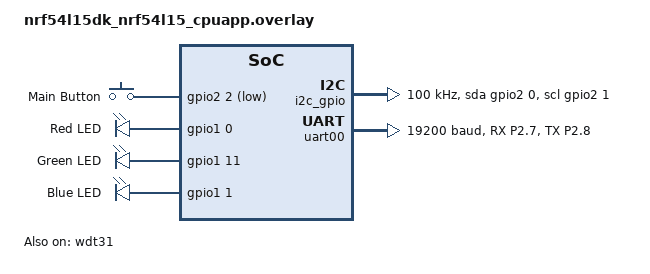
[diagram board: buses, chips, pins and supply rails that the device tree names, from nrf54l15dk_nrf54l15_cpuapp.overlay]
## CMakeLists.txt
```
cmake_minimum_required(VERSION 3.20.0)

find_package(Zephyr REQUIRED HINTS $ENV{ZEPHYR_BASE})

project(knx_actuator)

set(CMAKE_EXPORT_COMPILE_COMMANDS ON)

# =============================================================================
# KNX Stack Configuration
# =============================================================================
target_compile_definitions(app PRIVATE
    MASK_VERSION=0x07B0
    USE_TP
    USE_KNX_UART_API
    USE_KNX_MEMORY_API
    NCN5120
    KNX_NO_PRINT
    USE_DATASECURE
    KNX_NO_AUTOMATIC_GLOBAL_INSTANCE
    KNX_FLASH_SIZE=1024
)

# =============================================================================
# Include Directories
# =============================================================================
zephyr_include_directories(${CMAKE_CURRENT_SOURCE_DIR}/include)
target_include_directories(app PRIVATE 
    ${CMAKE_CURRENT_SOURCE_DIR}/knx_stack/src
    ${CMAKE_CURRENT_SOURCE_DIR}/src/knx
)

# =============================================================================
# Source Files
# =============================================================================
target_sources(app PRIVATE 
    src/main.c
    src/network/normal_provision.c
    src/network/fast_provision.c
    src/network/default_network.c
    src/network/network.c
    src/network/mesh_node.c
    src/network/vendor_model.c
    src/mid/watchdog_process.c
    src/mid/led.c
    src/mid/button.c
    src/mid/relay.c
    src/mid/fifo.c
    src/mid/execution_scene.c
    src/mid/scene.c
    src/mid/led_ev.c
    src/mid/fact.c
    src/mid/key_report.c
    src/mid/sw_binding.c
    src/mid/net_message.c
    src/mid/pre_update.c
    src/mid/timestamp.c
    src/app/app.c
    src/driver/at24c02.c
    src/app/curtain.c

    # KNX Adapter
    src/knx/knx_adapter.cpp
    src/knx/knx_app_layer.cpp
    src/knx/knx_provision.c

    # KNX Stack - Platform & Facade
    knx_stack/src/nordic_platform.cpp
    knx_stack/src/knx_facade.cpp
)

# Global KNX Core sources
file(GLOB KNX_CORE_SOURCES 
    "knx_stack/src/knx/*.cpp"
    "knx_stack/src/knx/*.c"
)
target_sources(app PRIVATE ${KNX_CORE_SOURCES})
```

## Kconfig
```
source "Kconfig.zephyr"

config KNX_CURTAIN
	bool "Enable Provisioner mode on demo"
	default false

config WATCHDOG_PROCESS_TIMEOUT_MS
	int "Watchdog timeout value [ms]"
	default 12000
	range 1000 120000
	help
	  Timeout của watchdog timer. Sau thời gian này thiết bị sẽ tự động reset.
	  
	  Phân tích các tác vụ dài nhất:
	  - Factory reset: ~4 giây (3s delay + 1.2s processing)
	  - Fast provisioning: 30-60 giây (có timeout riêng 60s)
	  - Mesh operations: thường < 10 giây
	  - Flash operations: < 5 giây
	  
	  Timeout 12 giây:
	  - Phát hiện treo nhanh (12 giây)
	  - Feed interval: 4 giây (timeout/3) - số nguyên, đảm bảo feed kịp thời
	  - Margin: 8 giây - rất an toàn, chịu được delay lớn trong work queue
	  - Đủ cho hầu hết tác vụ ngắn và trung bình
	  
	  Lưu ý: Với timeout 12 giây, các tác vụ dài (>12s) có thể bị reset.
	  Fast provisioning có timeout riêng 60s và có thể retry nếu bị reset.
	  
	  Range hỗ trợ bởi Nordic: 1 ms - 130,023,423 ms (~36 giờ)
	  Giá trị mặc định: 12000 ms (12 giây)
```

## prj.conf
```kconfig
# Bluetooth Mesh Relay Node Configuration
# Nordic SDK 3.0.1
# Optimized for Relay + Friend Node in Bluetooth Mesh network
###############################################################################

# =============================================================================
# 0. TF-M CONFIGURATION
# =============================================================================
# Disable TF-M logging để không dùng UART30 (tránh conflict với UART00)
# Khi disable logging, TF-M sẽ không claim UART30 và GPIO pins
CONFIG_TFM_LOG_LEVEL_SILENCE=y

# Disable secure pins cho GPIO0.0-0.1 để UART00 có thể dùng được
# Mặc định TF-M claim GPIO0.0-0.1 làm secure (0x00000003)
# Set về 0x00000000 để cho phép non-secure access
CONFIG_NRF_GPIO0_PIN_MASK_SECURE=0x00000000


#DEBUG CONFIG
CONFIG_DEBUG_COREDUMP=y
CONFIG_DEBUG_COREDUMP_BACKEND_LOGGING=y


# =============================================================================
# 1. SYSTEM & HARDWARE CONFIGURATION
# =============================================================================
# Basic system configuration: stack size, storage, hardware info
# Increase stack size for relay node handling many messages simultaneously

CONFIG_MAIN_STACK_SIZE=5120
CONFIG_SYSTEM_WORKQUEUE_STACK_SIZE=5120

# Storage & Settings
CONFIG_FLASH=y
CONFIG_FLASH_MAP=y
CONFIG_NVS=y
CONFIG_SETTINGS=y
CONFIG_NVS_LOOKUP_CACHE=y
CONFIG_SETTINGS_NVS_NAME_CACHE=y
CONFIG_PM_PARTITION_SIZE_SETTINGS_STORAGE=0x8000

# Clock Configuration (Internal RC - frees P0.00/P0.01 for relay4 GPIO)
CONFIG_CLOCK_CONTROL=y
CONFIG_CLOCK_CONTROL_NRF=y
CONFIG_SOC_ENABLE_LFXO=n
CONFIG_CLOCK_CONTROL_NRF_K32SRC_RC=y
CONFIG_CLOCK_CONTROL_NRF_K32SRC_RC_CALIBRATION=y

# TF-M Secure UART30 Configuration
# This tells TF-M to use UART30 during secure boot on P0.00/P0.01,
# which grants Non-Secure access to those pins so the relay driver
# can reconfigure them as GPIO after boot.
CONFIG_TFM_SECURE_UART30=y
CONFIG_TFM_SECURE_UART_SHARE_INSTANCE=y

# Hardware & Libraries
CONFIG_HWINFO=y
CONFIG_DK_LIBRARY=y
CONFIG_GPIO=y
CONFIG_GPIO_NRFX=y
# I2C for AT24C02 EEPROM (software bit-bang on P2.0/P2.1)
CONFIG_I2C=y
CONFIG_I2C_GPIO=y

# Tắt driver flash ngoài (board có chip flash MX25R64 nhưng project không dùng)
CONFIG_SPI_NOR=n

# Button Configuration
# Number of buttons defined in include/button.h via MAX_BUTTON_COUNT macro
# Default: 4 buttons
# To change, modify MAX_BUTTON_COUNT in include/button.h

# Reboot functionality (for factory reset)
CONFIG_REBOOT=y

# Watchdog configuration - Protects system from hanging
# IMPORTANT: CONFIG_WATCHDOG must be enabled before CONFIG_WDT_NRFX
CONFIG_WATCHDOG=y
CONFIG_WDT_NRFX=y
CONFIG_WDT_DISABLE_AT_BOOT=n

# Cryptography & Random Generator
CONFIG_ENTROPY_GENERATOR=y
CONFIG_TEST_RANDOM_GENERATOR=y

CONFIG_SERIAL=y
CONFIG_UART_INTERRUPT_DRIVEN=y
CONFIG_UART_CONSOLE=y
CONFIG_UART_NRFX=y
CONFIG_UART_USE_RUNTIME_CONFIGURE=y
CONFIG_USE_SEGGER_RTT=n

# Ring Buffer for Serial Layer
# Ring Buffer for Serial Layer
CONFIG_RING_BUFFER=y

# Enable SPI for spi22
# Enabling SPI for WS2812
CONFIG_LED_STRIP=n
CONFIG_WS2812_STRIP_GPIO=n
# Enable SPI/I2S for WS2812
CONFIG_SPI=n
CONFIG_SPI_NRFX=n
CONFIG_I2S=n
CONFIG_WS2812_STRIP_SPI=n
CONFIG_WS2812_STRIP_I2S=n



# =============================================================================
# 2. BLUETOOTH CORE CONFIGURATION
# =============================================================================
# Cấu hình Bluetooth Low Energy cơ bản

CONFIG_BT=y
CONFIG_BT_PERIPHERAL=y
CONFIG_BT_OBSERVER=y
CONFIG_BT_BROADCASTER=y
# Tăng L2CAP buffers cho GATT Proxy (nếu sử dụng)
CONFIG_BT_L2CAP_TX_BUF_COUNT=16


# =============================================================================
# 3. BLUETOOTH CONTROLLER FEATURES (DISABLED FOR OPTIMIZATION)
# =============================================================================
# Tắt các tính năng không cần thiết để tối ưu performance và tiết kiệm năng lượng

CONFIG_BT_CTLR_LE_ENC=n
CONFIG_BT_CTLR_LE_PING=n
CONFIG_BT_DATA_LEN_UPDATE=n
CONFIG_BT_PHY_UPDATE=n
CONFIG_BT_CTLR_MIN_USED_CHAN=n
CONFIG_BT_CTLR_PRIVACY=n
CONFIG_BT_CTLR_CHAN_SEL_2=n


# =============================================================================
# 4. BLUETOOTH MESH CORE
# =============================================================================
# Enable Bluetooth Mesh stack

CONFIG_BT_MESH=y


# =============================================================================
# 5. RELAY & FRIEND NODE FEATURES
# =============================================================================
# Relay Node: Forward messages giữa các nodes trong mesh network
# Friend Node: Hỗ trợ Low Power Nodes (LPN) bằng cách lưu trữ messages

# Relay Feature - Quan trọng cho relay node
# Tăng buffer count để xử lý nhiều messages đồng thời
# Tăng retransmit count để đảm bảo độ tin cậy cao hơn
CONFIG_BT_MESH_RELAY=y
CONFIG_BT_MESH_NETWORK_TRANSMIT_COUNT=5
CONFIG_BT_MESH_NETWORK_TRANSMIT_INTERVAL=30
CONFIG_BT_MESH_RELAY_RETRANSMIT_COUNT=2
CONFIG_BT_MESH_RELAY_RETRANSMIT_INTERVAL=30

# Friend Feature - Hỗ trợ Low Power Nodes
# Friend node lưu trữ messages cho LPN và gửi khi LPN wake up
# Tăng queue size để hỗ trợ nhiều LPN đồng thời
CONFIG_BT_MESH_FRIEND=y
CONFIG_BT_MESH_FRIEND_LPN_COUNT=5
CONFIG_BT_MESH_FRIEND_QUEUE_SIZE=16
CONFIG_BT_MESH_FRIEND_RECV_WIN=49

# 1. Extended Advertising (bắt buộc cho Friend ADV riêng)
CONFIG_BT_EXT_ADV=y
CONFIG_BT_EXT_ADV_MAX_ADV_SET=6

# 2. Mesh Extended Advertising mode
CONFIG_BT_MESH_ADV_EXT=y

# 3. Friend ADV Optimization (randomness=0, send immediately)
CONFIG_BT_MESH_ADV_EXT_FRIEND_SEPARATE=y

# High priority for Mesh ADV thread to reduce jitter (0 = Highest Cooperative Prio)
CONFIG_BT_MESH_ADV_PRIO=0

# Low Power Node - Disable (đây là relay node, luôn hoạt động)
CONFIG_BT_MESH_LOW_POWER=n


# =============================================================================
# 6. NETWORK CONFIGURATION & TOPOLOGY
# =============================================================================
# Cấu hình network: số lượng subnet, app key, groups, labels
# Network transmit/receive: số lần retry và interval

# Network Capacity
CONFIG_BT_MESH_SUBNET_COUNT=2
CONFIG_BT_MESH_APP_KEY_COUNT=2
CONFIG_BT_MESH_MODEL_GROUP_COUNT=8
CONFIG_BT_MESH_LABEL_COUNT=2

# Model Key Slots - Tăng để bind với nhiều AppKeys
# Fast Provision model cần bind với cả default network (0x0001) và main network (0x0000)
CONFIG_BT_MESH_MODEL_KEY_COUNT=2

# Default TTL (Time To Live) - Số hop tối đa message có thể đi qua
CONFIG_BT_MESH_DEFAULT_TTL=6

# =============================================================================
# 7. MESSAGE BUFFER & PERFORMANCE CONFIGURATION
# =============================================================================
# Tối ưu buffer sizes để relay node có thể xử lý nhiều messages đồng thời

# Advertisement Buffers - Tăng để giảm message loss
# Relay node cần nhiều buffers hơn để xử lý traffic cao
CONFIG_BT_MESH_ADV_BUF_COUNT=32
# FIX: Tăng relay buffer count riêng cho relay messages
CONFIG_BT_MESH_RELAY_BUF_COUNT=32
# FIX: Tăng segment max để xử lý large messages
CONFIG_BT_MESH_TX_SEG_MAX=8
CONFIG_BT_MESH_RX_SEG_MAX=8
# FIX: Tăng từ 2 lên 4 để nhận nhiều segmented messages đồng thời
CONFIG_BT_MESH_RX_SEG_MSG_COUNT=4

# Loopback Buffers - Cho internal message routing
# Tăng cho relay node xử lý nhiều messages nội bộ
CONFIG_BT_MESH_LOOPBACK_BUFS=24


# No random response msg
CONFIG_BT_MESH_ACCESS_DELAYABLE_MSG=y

# =============================================================================
# 8. SECURITY & BEACON CONFIGURATION
# =============================================================================
# Secure Network Beacon: quảng bá thông tin security cho các nodes

CONFIG_BT_MESH_BEACON_ENABLED=y


# =============================================================================
# 9. PROVISIONING CONFIGURATION
# =============================================================================
# Cấu hình provisioning: cách thiết bị được thêm vào mesh network

CONFIG_BT_MESH_PROVISIONEE=y
CONFIG_BT_MESH_DK_PROV=y
CONFIG_BT_MESH_DK_PROV_OOB_BUTTON=n

# Provisioning Bearer: chỉ dùng PB-ADV (Advertising)
CONFIG_BT_MESH_PB_ADV=y
CONFIG_BT_MESH_PB_GATT=y


# =============================================================================
# 10. GATT PROXY CONFIGURATION
# =============================================================================
# GATT Proxy: cho phép thiết bị BLE kết nối vào mesh network qua GATT

CONFIG_BT_MESH_GATT_PROXY=y


# =============================================================================
# 11. APPLICATION MODELS
# =============================================================================
# Bluetooth Mesh models used in the application

# Foundation Models (bắt buộc)
CONFIG_BT_MESH_CFG_CLI=y

# Health Model
CONFIG_BT_MESH_HEALTH_CLI=y

# Generic OnOff manual implementation is used, keeping standard server config 
# for opcodes/structs but using custom handlers in mesh_node.c
CONFIG_BT_MESH_ONOFF_SRV=y
CONFIG_BT_MESH_ONOFF_CLI=y

# Scene Model
CONFIG_BT_MESH_SCENE_SRV=y
CONFIG_BT_MESH_SCENES_MAX=16

# Generic Default Transition Time Server (Required for Scene Model)
CONFIG_BT_MESH_DTT_SRV=y

# Sensor Model - DISABLED
# CONFIG_BT_MESH_SENSOR_SRV=y


# =============================================================================
# 12. STORAGE & SETTINGS CONFIGURATION
# =============================================================================
# Configuration to save mesh state to flash to persist after reset

CONFIG_BT_SETTINGS=y
# RPL (Replay Protection List) Store Timeout
# Set to -1 to DISABLE automatic storage to Flash (RAM only)
CONFIG_BT_MESH_RPL_STORE_TIMEOUT=-1

# =============================================================================
# 13. LOGGING CONFIGURATION
# =============================================================================
# Log level: INF for production (reduce log to increase performance)
# Can change to DBG for debugging when needed


#=============================================================================
#Tắt log
#=============================================================================
# CONFIG_LOG=y
# CONFIG_LOG_BUFFER_SIZE=4096
# CONFIG_LOG_MODE_DEFERRED=y
# CONFIG_LOG_PROCESS_THREAD_STACK_SIZE=4096
# CONFIG_BT_LOG_LEVEL_INF=y
# CONFIG_BT_MESH_LOG_LEVEL_INF=y
# CONFIG_BT_MESH_PROV_LOG_LEVEL_INF=y
# CONFIG_BT_MESH_MODEL_LOG_LEVEL_INF=y
# CONFIG_BT_MESH_NET_LOG_LEVEL_INF=y
# CONFIG_BT_MESH_ACCESS_LOG_LEVEL_INF=y=
#=============================================================================



# =============================================================================
# 14. DEBUG & DEVELOPMENT TOOLS (OPTIONAL)
# =============================================================================
# Uncomment các dòng dưới để enable debug tools khi cần

# CONFIG_BT_MESH_PROVISIONEE_LOG_LEVEL_DBG=y
# CONFIG_BT_GATT_LOG_LEVEL_DBG=y
# CONFIG_BT_MESH_PROXY_LOG_LEVEL_DBG=y
# CONFIG_STACK_CANARIES=y
CONFIG_ASSERT=y
# CONFIG_THREAD_ANALYZER=y
# CONFIG_THREAD_ANALYZER_USE_PRINTK=y
# CONFIG_THREAD_ANALYZER_AUTO=y
# CONFIG_LOG_PROCESS_THREAD_STACK_SIZE=4096


# =============================================================================
# 15. DEBUG FEATURES
# =============================================================================
# Only enable in development, disable in production for optimal performance

CONFIG_BT_MESH_DEBUG_USE_ID_ADDR=y
CONFIG_BT_MESH_ACCESS_LAYER_MSG=y
CONFIG_BT_MESH_ACCESS_DELAYABLE_MSG=y

# =============================================================================
# 17. RELAY NODE OPTIMIZATION
# =============================================================================
# Special optimizations for relay node
# Message cache và network segmentation đã được cấu hình ở trên


# =============================================================================
# 16. HARDWARE TX POWER CONFIGURATION
# =============================================================================
# TX Power: 8dBm to increase coverage for relay node
# Can be adjusted based on range and energy consumption requirements

CONFIG_BT_CTLR_TX_PWR_PLUS_8=y

CONFIG_BT_CTLR_TX_PWR_DYNAMIC_CONTROL=y  # Uncomment để điều khiển dynamic



# Replay Protection List Size - Increase for 512 nodes
CONFIG_BT_MESH_CRPL=512

# Message Cache Size - Increase duplicate buffer (Default 10/32)
CONFIG_BT_MESH_MSG_CACHE_SIZE=64

# Zbus for inter-module communication (KNX Adapter <-> App)
CONFIG_ZBUS=y

# =============================================================================
# 18. C++ SUPPORT (Required for KNX Stack)
# =============================================================================
# KNX stack uses C++ with new/delete operators - must enable C++ in Zephyr
CONFIG_CPP=y
CONFIG_STD_CPP17=y
CONFIG_GLIBCXX_LIBCPP=y
CONFIG_HEAP_MEM_POOL_SIZE=8192
```

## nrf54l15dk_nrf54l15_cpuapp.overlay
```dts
    #include <zephyr/dt-bindings/input/input-event-codes.h>

&uart00 {
    status = "okay";
    current-speed = <19200>;
    parity = "even";
    pinctrl-0 = <&uart00_default_custom>;
    pinctrl-1 = <&uart00_sleep_custom>;
    pinctrl-names = "default", "sleep";
};

&lfxo {
    status = "disabled";
};

&uart30 {
    status = "disabled";
};

&wdt31 {
    status = "okay";
};

&pinctrl {
    uart00_default_custom: uart00_default_custom {
        group1 {
            psels = <NRF_PSEL(UART_RX, 2, 7)>;
            bias-pull-up;
            nordic,drive-mode = <NRF_DRIVE_H0H1>;
        };
        group2 {
            psels = <NRF_PSEL(UART_TX, 2, 8)>;
            nordic,invert;
            bias-pull-up;
            nordic,drive-mode = <NRF_DRIVE_H0S1>;
        };
    };

    uart00_sleep_custom: uart00_sleep_custom {
        group1 {
            psels = <NRF_PSEL(UART_RX, 2, 7)>, <NRF_PSEL(UART_TX, 2, 8)>;
            low-power-enable;
        };
    };

};

/* Disable standard buttons and LEDs to avoid conflicts */
/delete-node/ &button0;
/delete-node/ &button2;
/delete-node/ &button3;
/delete-node/ &led0;
/delete-node/ &led1;
/delete-node/ &led2;
/delete-node/ &led3;


/ {
    /* Main Button */
    buttons {
        compatible = "gpio-keys";
        main_button: button_1 {
            gpios = <&gpio2 2 (GPIO_ACTIVE_LOW | GPIO_PULL_UP)>; /* P1.13 */
            label = "Main Button";
            zephyr,code = <INPUT_KEY_0>;
        };
    };

    /* RGB LEDs */
    leds {
        compatible = "gpio-leds";
        led_red: led_red {
            gpios = <&gpio1 0 0>; /* P0.02 */
            label = "Red LED";
        };
        led_green: led_green {
            gpios = <&gpio1 11 0>; /* P0.03 */
            label = "Green LED";
        };
        led_blue: led_blue {
            gpios = <&gpio1 1 0>; /* P0.04 */
            label = "Blue LED";
        };
    };

    /* 4 Latching Relays */
    relays {
        compatible = "custom,latching-relays";
        relay_0: relay_0 {
            on-gpios = <&gpio2 3 GPIO_ACTIVE_HIGH>;   /* P2.03 */
            off-gpios = <&gpio2 4 GPIO_ACTIVE_HIGH>;  /* P2.04 */
        };
        relay_1: relay_1 {
            on-gpios = <&gpio2 5 GPIO_ACTIVE_HIGH>;   /* P2.05 */
            off-gpios = <&gpio2 6 GPIO_ACTIVE_HIGH>;  /* P2.06 */
        };
        relay_2: relay_2 {
            on-gpios = <&gpio2 9 GPIO_ACTIVE_HIGH>;   /* P2.09 */
            off-gpios = <&gpio2 10 GPIO_ACTIVE_HIGH>; /* P2.10 */
        };
        relay_3: relay_3 {
            on-gpios = <&gpio0 0 GPIO_ACTIVE_HIGH>;   /* P0.00 */
            off-gpios = <&gpio0 1 GPIO_ACTIVE_HIGH>;  /* P0.01 */
        };
    };

    /* Software I2C (bit-bang) on P2.0/P2.1 for AT24C02 EEPROM */
    i2c_gpio: i2c_gpio {
        compatible = "gpio-i2c";
        sda-gpios = <&gpio2 0 (GPIO_OPEN_DRAIN | GPIO_PULL_UP)>;
        scl-gpios = <&gpio2 1 (GPIO_OPEN_DRAIN | GPIO_PULL_UP)>;
        clock-frequency = <I2C_BITRATE_STANDARD>;
        #address-cells = <1>;
        #size-cells = <0>;
        status = "okay";
    };

    aliases {
        sw0 = &main_button;
        sw1 = &main_button;
        sw2 = &main_button;
        sw3 = &main_button;
        led0 = &led_red;
        led1 = &led_green;
        led2 = &led_blue;
        led3 = &led_red;
        relay0 = &relay_0;
        relay1 = &relay_1;
        relay2 = &relay_2;
        relay3 = &relay_3;
        watchdog0 = &wdt31;
    };
};

/* UART20 - Keep for console but ensure it doesn't conflict */
&uart20_default {
    group1 {
        psels = <NRF_PSEL(UART_TX, 1, 4)>; /* Keep standard TX on P1.04 */
    };
    group2 {
        psels = <NRF_PSEL(UART_RX, 1, 3)>, <NRF_PSEL(UART_CTS, 1, 7)>;
    };
};
/delete-node/ &{/pin-controller/spi00_default/group1/};

&cpuapp_rram {
    partitions {
        compatible = "fixed-partitions";
        #address-cells = <1>;
        #size-cells = <1>;

        knx_provision: partition@154000 {
            label = "knx_provision";
            reg = <0x154000 0x1000>;
        };
    };
};

&spi00 {
    status = "disabled";
};
/delete-node/ &{/pin-controller/spi00_sleep/group1/};
    
```

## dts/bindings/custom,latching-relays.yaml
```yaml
description: Container for latching relay channels

compatible: "custom,latching-relays"

child-binding:
  description: A single latching relay channel with ON and OFF GPIO pins

  properties:
    on-gpios:
      type: phandle-array
      required: true
      description: GPIO pin for turning the relay ON

    off-gpios:
      type: phandle-array
      required: true
      description: GPIO pin for turning the relay OFF
```

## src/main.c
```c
/**
 * @file main.c
 * @brief Bluetooth Mesh Relay Node - Main Application Entry Point
 *
 * @details
 * Main application file for Bluetooth Mesh Relay Node. Responsibilities:
 * - Hardware initialization (LEDs, buttons)
 * - Bluetooth and Mesh stack initialization
 * - Button event handling
 * - LED state management and attention blink
 *
 * Key features:
 * - Relay messages between nodes in mesh network
 * - Generic OnOff Server/Client models for LED control
 * - Fast Provision support (Quick Provision)
 * - Health model for fault reporting via attention LED
 *
 * @note
 * - Mesh logic (models, handlers) is in mesh_message_handler.c
 * - Network info (keys, addresses) is in network.c
 * - Fast Provision logic is in fast_provision.c
 */
/* ============================================================================
 * INCLUDES
 * ============================================================================
 */

/* Zephyr RTOS headers */
#include <zephyr/drivers/hwinfo.h>
#include <zephyr/kernel.h>
#include <zephyr/logging/log.h>
#include <zephyr/settings/settings.h>
#include <zephyr/sys/reboot.h>

/* Bluetooth Mesh headers */
#include <bluetooth/mesh/models.h>
#include <zephyr/bluetooth/bluetooth.h>
#include <zephyr/bluetooth/mesh.h>

/* Nordic DK headers */
#include <dk_buttons_and_leds.h>

/* Project headers */
#include "../include/app.h"
#include "../include/app_device.h"
#include "../include/button.h"
#include "../include/curtain.h"
#include "../include/default_network.h"
#include "../include/execution_scene.h"
#include "../include/fact.h"
#include "../include/fast_provision.h"
#include "../include/knx_adapter.h"
#include "../include/led.h"
#include "../include/led_ev.h"
#include "../include/mesh_node.h"
#include "../include/net_message.h"
#include "../include/normal_provision.h"
#include "../include/pre_update.h"
#include "../include/relay.h"
#include "../include/sw_binding.h"
#include "../include/watchdog_process.h"

LOG_MODULE_REGISTER(lumi_debug_main_c, CONFIG_LOG_DEFAULT_LEVEL);

/* ============================================================================
 * GLOBAL VARIABLES
 * ============================================================================
 */

/**
 * @brief Flag to enable/disable attention blink
 *
 * @details
 * - true: Enable attention blink
 * - false: Disable attention blink
 *
 * Set by Health model callbacks in mesh_message_handler.c
 */
bool attention;

/**
 * @brief Current LED state
 *
 * @details
 * - true: LED ON
 * - false: LED OFF
 *
 * Synchronized with LED hardware and OnOff model state
 */
bool is_led_on;

#if EN_DEBUG_NETWORK_INFO
static struct k_work_delayable main_periodic_work;
#endif

/* Global MAC Address Table (ref in fact.c) */
uint8_t tbl_mac[6] = {0};

/* ============================================================================
 * STATIC FUNCTIONS
 * ============================================================================
 */

/**
 * @brief Log TX Power configuration
 *
 * @details
 * Print TX power configured in prj.conf
 */
static void log_tx_power(void) {
#if defined(CONFIG_BT_CTLR_TX_PWR_PLUS_8)
  LOG_INF("TX Power: +8 dBm");
#elif defined(CONFIG_BT_CTLR_TX_PWR_PLUS_7)
  LOG_INF("TX Power: +7 dBm");
#elif defined(CONFIG_BT_CTLR_TX_PWR_PLUS_6)
  LOG_INF("TX Power: +6 dBm");
#elif defined(CONFIG_BT_CTLR_TX_PWR_PLUS_5)
  LOG_INF("TX Power: +5 dBm");
#elif defined(CONFIG_BT_CTLR_TX_PWR_PLUS_4)
  LOG_INF("TX Power: +4 dBm");
#elif defined(CONFIG_BT_CTLR_TX_PWR_PLUS_3)
  LOG_INF("TX Power: +3 dBm");
#elif defined(CONFIG_BT_CTLR_TX_PWR_PLUS_2)
  LOG_INF("TX Power: +2 dBm");
#elif defined(CONFIG_BT_CTLR_TX_PWR_PLUS_1)
  LOG_INF("TX Power: +1 dBm");
#elif defined(CONFIG_BT_CTLR_TX_PWR_0)
  LOG_INF("TX Power: 0 dBm");
#elif defined(CONFIG_BT_CTLR_TX_PWR_MINUS_4)
  LOG_INF("TX Power: -4 dBm");
#elif defined(CONFIG_BT_CTLR_TX_PWR_MINUS_8)
  LOG_INF("TX Power: -8 dBm");
#elif defined(CONFIG_BT_CTLR_TX_PWR_MINUS_12)
  LOG_INF("TX Power: -12 dBm");
#elif defined(CONFIG_BT_CTLR_TX_PWR_MINUS_16)
  LOG_INF("TX Power: -16 dBm");
#elif defined(CONFIG_BT_CTLR_TX_PWR_MINUS_20)
  LOG_INF("TX Power: -20 dBm");
#elif defined(CONFIG_BT_CTLR_TX_PWR_MINUS_40)
  LOG_INF("TX Power: -40 dBm");
#else
  LOG_INF("TX Power: Default (not specified)");
#endif
}

/* ============================================================================
 * INITIALIZATION FUNCTIONS
 * ============================================================================
 */

/**
 * @brief Initialize hardware (LEDs and buttons)
 *
 * @return 0 on success, error code on failure
 *
 * @details
 * Initialize necessary hardware:
 * - LEDs: For status indication and attention blink
 * - Buttons: To receive user input
 *
 * @note
 * If initialization fails, the function will log error and return error code.
 * Application will continue running but some features might not work.
 */
static int initialize_hardware(void) {
  /* Initialize MAC Address from Hardware Info */
  hwinfo_get_device_id(tbl_mac, sizeof(tbl_mac));
  LOG_HEXDUMP_INF(tbl_mac, sizeof(tbl_mac), "Device MAC Address:");

  LOG_INF("Hardware initialized successfully");
  return 0;
}

/**
 * @brief Initialize Mesh stack
 *
 * @return 0 on success, error code on failure
 *
 * @details
 * Initialize entire Mesh stack including:
 * - Mesh models (OnOff, Health, Config, Fast Provision)
 * - Mesh composition
 * - Message handlers
 * - Config Client and Fast Provision context
 *
 * @note
 * All mesh initialization logic is handled in mesh_message_handler.c.
 * This function is just a wrapper to call mesh_initialize().
 */
static int initialize_mesh_stack(void) { return mesh_initialize(); }

/**
 * @brief Callback when Bluetooth stack is ready
 *
 * @param err Error code (0 = success)
 *
 * @details
 * This function is called by Bluetooth stack when initialization is complete.
 * Initialization order:
 * 1. Hardware (LEDs, buttons)
 * 2. Mesh stack (models, composition, handlers)
 * 3. Load settings and restore AppKey binding (if any)
 * 4. Initialize Fast Provision
 *
 * @note Side effects:
 * - Initialize hardware (LEDs, buttons)
 * - Initialize Mesh stack
 * - Load persistent settings from flash
 * - Initialize Fast Provision state machine
 *
 * @note
 * If error occurs at any step, function will log error and return.
 * Application will continue running but some features might not work.
 */
static void bt_ready(int err) {
  if (err) {
    LOG_ERR("Bluetooth init failed (err %d)", err);
    return;
  }

  LOG_INF("Bluetooth initialized");

  /* Log TX Power configuration */
  log_tx_power();

  err = initialize_mesh_stack();
  if (err) {
    LOG_ERR("Mesh stack initialization failed");
    return;
  }

  /* Step 3: Restore AppKey binding from settings */
  if (IS_ENABLED(CONFIG_SETTINGS)) {
    restore_appkey_binding_after_settings_load();
    /* Wait a bit to ensure settings have been processed by mesh stack */
    /* (restore_appkey_binding_after_settings_load() already has 1000ms delay
     * inside) */
    k_sleep(K_MSEC(500));

    /* Save MAC to settings after settings are ready */
    fast_provision_save_mac_after_settings_ready();
  }
  fast_provision_init();
  normal_provision_init();
  default_network_monitor_init();

  err = initialize_hardware();
  if (err) {
    LOG_ERR("Hardware initialization failed");
    return;
  }

  /* Init curtain */
  curtain_init();

  /* Initialize KNX adapter */
  knx_adapter_init();

  /* Initialize relay module */
  err = relay_init();
  if (err) {
    LOG_ERR("Relay initialization failed (err %d)", err);
  }

  /* Init button */
  button_init(button_handle_btn_event);

  /* Initialize LED library */
  err = led_init();
  led_refresh_callback_init(app_handle_refresh_led);
  if (err) {
    LOG_ERR("Initializing LED library failed (err %d)", err);
    return;
  }
  led_ev_handle(LED_POWER_ON, CONFIG_LED_MASK_BLUETOOTH | CONFIG_LED_MASK_KNX);
  led_refresh(0xFFFF);

  /* Init ecxecution scene */
  execution_scene_init();

  /* Init net message */
  net_msg_init();

  /* Pre-Update */
  pre_update_init();

  /* Binding */
  binding_init();

  /* App initial */
  app_init();

  // Delay power on
  k_sleep(K_MSEC(500));

#if EN_DEBUG_NETWORK_INFO
  /* Start periodic tasks */
  k_work_reschedule(&main_periodic_work, K_MSEC(1000));
#endif
}

#if EN_DEBUG_NETWORK_INFO
/*
 * @brief Main periodic handler
 */
static void main_periodic_handler(struct k_work *work) {
  k_work_reschedule(&main_periodic_work, K_MSEC(1000)); // 1s interval
  default_network_print_info();                         // Optional
}
#endif

/* ============================================================================
 * MAIN FUNCTION
 * ============================================================================
 */

/**
 * @brief Main entry point
 *
 * @return 0 on success
 *
 * @details
 * Application entry point:
 * 1. Initialize Watchdog
 * 2. Initialize NVS early
 * 3. Enable Bluetooth stack (triggers bt_ready callback)
 * 4. Init attention blink work
 * 5. Init main periodic work
 *
 * @note
 * Non-blocking. After return, runs in Zephyr main thread/idle loop.
 */

/**
 * @brief Log reset/reboot reason at startup
 */
static void log_reset_reason(void) {
  uint32_t cause = 0;
  int rc = hwinfo_get_reset_cause(&cause);
  if (rc != 0) {
    LOG_WRN("Could not read reset cause (err %d)", rc);
    return;
  }

  LOG_INF("========================================");
  LOG_INF("  RESET CAUSE: 0x%08X", cause);

  if (cause == 0) {
    LOG_INF("  -> Power-On Reset (cold boot)");
  } else {
    if (cause & RESET_PIN)
      LOG_INF("  -> RESET PIN");
    if (cause & RESET_SOFTWARE)
      LOG_INF("  -> SOFTWARE RESET (sys_reboot)");
    if (cause & RESET_BROWNOUT)
      LOG_INF("  -> BROWNOUT (low voltage)");
    if (cause & RESET_POR)
      LOG_INF("  -> POWER-ON RESET");
    if (cause & RESET_WATCHDOG)
      LOG_INF("  -> WATCHDOG TIMEOUT !!!");
    if (cause & RESET_DEBUG)
      LOG_INF("  -> DEBUG (debugger reset)");
    if (cause & RESET_SECURITY)
      LOG_INF("  -> SECURITY VIOLATION");
    if (cause & RESET_LOW_POWER_WAKE)
      LOG_INF("  -> LOW POWER WAKE");
    if (cause & RESET_CPU_LOCKUP)
      LOG_INF("  -> CPU LOCKUP (HardFault) !!!");
    if (cause & RESET_PARITY)
      LOG_INF("  -> PARITY ERROR");
    if (cause & RESET_HARDWARE)
      LOG_INF("  -> HARDWARE");
    if (cause & RESET_USER)
      LOG_INF("  -> USER RESET");
    if (cause & RESET_TEMPERATURE)
      LOG_INF("  -> TEMPERATURE");
  }

  LOG_INF("========================================");

  /* Clear the cause so next boot shows fresh info */
  hwinfo_clear_reset_cause();
}

int main(void) {
  int err;

  LOG_INF("=== Bluetooth Mesh Relay Node Starting ===");

  /* Log reset reason FIRST */
  // log_reset_reason();

  /* Initialize watchdog early to protect system */
  err = watchdog_process_init();
  if (err) {
    LOG_ERR("Watchdog init failed (err %d)", err);
    /* Continue even if watchdog init fails */
  }

  /* Initialize NVS early to ensure MAC address storage availability */
  fast_provision_nvs_init_early();

  /* Enable Bluetooth stack - bt_ready callback will be called when ready */
  err = bt_enable(bt_ready);
  if (err) {
    LOG_ERR("Bluetooth init failed (err %d)", err);
    return err;
  }

  LOG_INF("Main initialization complete, waiting for Bluetooth ready...");

#if EN_DEBUG_NETWORK_INFO
  /* Initialize main periodic work */
  k_work_init_delayable(&main_periodic_work, main_periodic_handler);
#endif

  return 0;
}
```

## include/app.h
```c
#ifndef APP_H
#define APP_H

#include <stddef.h>
#include <stdint.h>

void app_serial_dispatch(uint8_t *data, size_t data_len);

/**
 * @brief Button event handler - called by button_proc() when GPIO button event
 * occurs
 * @param button_id Button index (0 = option button, 1..N = touch buttons)
 * @param evt Button event type (START_PRESS, HOLD_500MS, PRESS_ONE_TIME, etc.)
 */
void button_handle_btn_event(uint8_t button_id, uint8_t evt);
void app_handle_refresh_led(uint16_t mask);
void app_init(void);

#endif /* APP_H */
```

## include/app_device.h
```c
#ifndef APP_DEVICE_H__
#define APP_DEVICE_H__

#include "utilities.h"

#define G_TYPE_SWITCH_BUTTON 0x002a
#define G_TYPE_LM_DIMMER 0x002b
#define G_TYPE_LM_CURTAIN 0x002c
#define G_TYPE_LM_FAN 0x002d
#define G_TYPE_LM_GATE 0x002e

#define DEV_TYPE_SEL G_TYPE_LM_CURTAIN
#define NUMBER_INPUT 1
#define RELAY_CNT NUMBER_INPUT

/*
 * NUMBER INPUT
 */
#define ELE_CNT (NUMBER_INPUT)
#define NUMBER_CURTAIN 1
#define NUMBER_LED 1

#define BACKUP_MASK_RL 0x0F

#define NUMBER_BUTTON 1
#define CONFIG_BUTTON_IDX 0

#define BACKUP_MASK 0xFFFF

#define CONFIG_LED_IDX_BLUETOOTH 0x00
#define CONFIG_LED_IDX_KNX 0x00

#define CONFIG_LED_MASK_BLUETOOTH 0x01
#define CONFIG_LED_MASK_KNX 0x01

#define CONFIG_BTN_ID_BLUETOOTH 0x00
#define CONFIG_BTN_ID_KNX 0x00

#define CONFIG_LED_MASK (CONFIG_LED_MASK_BLUETOOTH)

#define DEVICE_TYPE DEV_SWITCH

#define ADR_FIXED_GROUP_START (0xFF00)

#define LM_SUB_GROUP_ENABLE 1
#define LM_SCENE_ENABLE 1

/* Define GATEWAY_UNICAST_ADDR if not defined */
#ifndef GATEWAY_UNICAST_ADDR
#define GATEWAY_UNICAST_ADDR 0x0001
#endif

#define INTER_PROVISION_EN 0
#define TIMESTAMP_CACULATOR_EN 1
#define MASTER_LED_CONTROL_EN 0
#define TOGGLE_MODE_EN 1
// default transition
#define CTL_WITH_FLAG_DEFAULT_POSITION_EN 1

#if DEV_TYPE_SEL == G_TYPE_SWITCH_BUTTON
#define EN_SWITCH_CONFIG_DIMMING 0
#endif

#define PUBLISH_DELAY_OFFSET 50

/* Enable/Disable provisioning toggle feature (double press sw4) */
#define EN_PROVISIONING_TOGGLE 1
#define EN_ENVIRONMENTAL_SENSOR 0
#define EN_DEBUG_NETWORK_INFO 0

#define SWITCH_ENABLE_BINDING 1
#define EN_EVT_ON_OFF_CONTROL_EXECUTION 1
#define EN_CHECK_SOURCE_CONTROL 1

#define LIGHT_TYPE_HSL_EN 1
#define LIGHT_TYPE_CT_EN 1
#define MD_LIGHTNESS_EN 1

#endif /* APP_DEVICE_H__ */
```

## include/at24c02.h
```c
/*
 * at24c02.h
 *
 *  Created on: Mar 13, 2026
 *      Author: DungTran BK
 */

#ifndef _AT24C02_H_
#define _AT24C02_H_

#include <stdint.h>
#include <stdbool.h>
#include <zephyr/device.h>

/* AT24C02 I2C 7-bit address (A0=A1=A2=GND) */
#define AT24C02_I2C_ADDR    0x50

/* AT24C02 memory size: 256 bytes (2 Kbit) */
#define AT24C02_MEM_SIZE    256

/* AT24C02 page size: 8 bytes */
#define AT24C02_PAGE_SIZE   8

/**
 * @brief Initialize AT24C02 driver with the I2C device
 * @param dev Pointer to the I2C device
 */
void at24c02_init(const struct device *dev);

/**
 * @brief Check if AT24C02 is present on the I2C bus
 *
 * Sends a write-address byte to the AT24C02 and checks for ACK.
 *
 * @return true  AT24C02 responded (ACK received)
 * @return false AT24C02 not found (NACK or error)
 */
bool at24c02_is_present(void);

/**
 * @brief Write a single byte to AT24C02
 * @param mem_addr Memory address (0x00 - 0xFF)
 * @param data     Byte to write
 * @return 0 on success, negative errno on failure
 */
int at24c02_write_byte(uint8_t mem_addr, uint8_t data);

/**
 * @brief Read a single byte from AT24C02
 * @param mem_addr Memory address (0x00 - 0xFF)
 * @param data     Pointer to store the read byte
 * @return 0 on success, negative errno on failure
 */
int at24c02_read_byte(uint8_t mem_addr, uint8_t *data);

/**
 * @brief Write multiple bytes to AT24C02 (handles page boundaries)
 * @param mem_addr Starting memory address
 * @param data     Pointer to data buffer
 * @param len      Number of bytes to write
 * @return 0 on success, negative errno on failure
 */
int at24c02_write(uint8_t mem_addr, const uint8_t *data, uint16_t len);

/**
 * @brief Read multiple bytes from AT24C02
 * @param mem_addr Starting memory address
 * @param data     Pointer to buffer to store read data
 * @param len      Number of bytes to read
 * @return 0 on success, negative errno on failure
 */
int at24c02_read(uint8_t mem_addr, uint8_t *data, uint16_t len);

#endif /* _AT24C02_H_ */
```

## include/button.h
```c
/*
 * Copyright (c) 2024
 *
 * SPDX-License-Identifier: LicenseRef-Nordic-5-Clause
 */

#ifndef BUTTON_H_
#define BUTTON_H_

#include <stdbool.h>
#include <stdint.h>
#include <zephyr/kernel.h>

#include "utilities.h"

#ifdef __cplusplus
extern "C" {
#endif

typedef struct {
  uint32_t press_last_t;
  uint8_t press_cnt;
  bool press_many_time_f;
  uint32_t start_hold_t;
  uint8_t prev_state;
  uint8_t hold_step;
  uint8_t poll_cnt;
} opt_button_params_t;

#define OPTION_BUTTON_PRESS 0x00
#define OPTION_BUTTON_RELEASE 0x01

#define MIN_POLL_COUNTER_TO_CHANGE_HOLD_STEP 10
#define OPTION_BUTTON_ERROR_HOLD_TIME TIMER_20S

#define BUTTON_FAST_SCAN_INTERVAL_MS TIMER_10MS
#define BUTTON_NORMAL_SCAN_INTERVAL_MS TIMER_25MS

typedef void (*typeButton_HandleStateCallbackFunc)(uint8_t button_id,
                                                   uint8_t state);
/******************************************************************************/
/*                            EXPORT FUNCTIONS                                */
/******************************************************************************/
void button_init(typeButton_HandleStateCallbackFunc func);
void button_proc(void);

#ifdef __cplusplus
}
#endif

#endif /* BUTTON_H_ */
```

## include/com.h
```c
#ifndef COM_H__
#define COM_H__

#ifdef __cplusplus
extern "C" {
#endif

/**
 * @brief Callback when device successfully joins main network
 *
 * @details
 * Called by provisioning complete handler to trigger post-join actions
 * (e.g. delayed brightness update).
 * Should be called only on fresh provisioning events.
 */
void app_on_network_joined(void);

#ifdef __cplusplus
}
#endif

#endif /* COM_H__ */
```

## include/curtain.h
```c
/*
 * curtain.h
 *
 *  Created on: Feb 17, 2021
 *      Author: DungTranBK
 */

#ifndef CURTAIN_H_
#define CURTAIN_H_

/******************************************************************************/
/*                              INCLUDE FILES                                 */
/******************************************************************************/
#include <stdbool.h>
#include <stdint.h>

#include "app_device.h"
#include "utilities.h"
#include "vendor_model.h"

/******************************************************************************/
/*                     EXPORTED TYPES and DEFINITIONS                         */
/******************************************************************************/

#define PAR_LEN_MSG_SET_LED_INTENSITY 0x1
#define PAR_LEN_MSG_LOCK_CURTAIN 0x1
#define PAR_LEN_MSG_SET_CURTAIN_TYPE 0x2

#define PAR_LEN_MSG_SET_LIMIT_TIME 0x4

#define CMD_MSG_SW_CONFIG_OPSET VD_CONFIG_ALL_SWITCH_OPT

#define MC_OPT_RESPONSE_LEN_MAX 64

typedef struct {
  uint8_t opt_id;
  uint8_t data[MC_OPT_RESPONSE_LEN_MAX];
} mc_opt_response_t;

typedef struct {
  uint8_t led_intensity_op;
  uint8_t led_intensity;
  uint8_t lock_device_op;
  uint16_t lock_device;
  uint8_t glass_type_op;
  uint8_t glass_type;
  uint8_t curtain_type_op;
  uint8_t curtain_type[2];
  uint8_t auto_lock_cfg_op;
  uint8_t auto_lock_cfg;
} mc_opt_response_all_t;

typedef struct {
  uint8_t btn_id;
  union {
    uint8_t btn_lock;
    uint16_t group_lock;
  };
} rsp_lock_dev_t;

typedef struct {
  bool en;
  uint16_t src_adr;
  uint8_t len;
  uint8_t par[6];
} rsp_mc_opt_to_gw_t;

typedef struct {
  uint8_t idx;
  uint8_t mask_cmd;
  uint32_t time_t;
} incomming_cfg_msg_t;

typedef struct {
  bool en;
  uint32_t send_last_t;
  uint8_t op_index;
  uint8_t btn_idx;
  bool en_fast;
  uint32_t delay_st;
  bool en_delay;
  bool send_join;
} cz_auto_send_t;

enum {
  HOZ_DZ3W = 0,
  HOZ_DZ4W = 1,
  HOZ_DT99 = 2,
  HOZ_DZ3WP = 3,
  VER_220V = 4,
  CZ_TYPE_UNKNOWN,
};
typedef uint8_t CurtainType_enum;

#define CZ_TYPE_DEFAULT HOZ_DZ4W

typedef struct {
  uint32_t limit_time_ms[ELE_CNT];
  uint8_t curtain_type[ELE_CNT];
  uint8_t rsv[8];
} curtain_config_t;

typedef struct {
  uint8_t endpoint;
  uint8_t cz_type;
} curtain_type_set_t;

typedef struct {
  uint8_t endpoint;
} curtain_type_get_t;

typedef struct {
  uint8_t op;
  uint8_t endpoint;
  uint8_t cz_type;
} curtain_type_rsp_t;

typedef struct {
  uint32_t limit_time;
} limit_time_set_t;

typedef struct {
  uint8_t op;
  uint8_t mode;
  uint32_t limit_time_ms;
} __attribute__((packed)) limit_time_rsp_t;

enum { BIT_LED_INTENSITY, BIT_LOCK_DEV, BIT_GLASS_TYPE, BIT_RELAY_TYPE };

enum {
  GET_LIMIT_TIME = 0,
  CHANGE_TO_LEARN_MODE = 1,
  EXIT_LEARN_MODE = 2,
  SET_LIMIT_TIME = 3
};

#define CONFIG_ALL_MASK 0x0F

enum { LIGHT_LOW = 0, LIGHT_HIGH = 1, INTENSITY_UNKNOWN };

enum {
  CURTAIN_CMD_IDLE = 0,
  CURTAIN_CMD_STOP = 1,
  CURTAIN_CMD_OPEN = 2,
  CURTAIN_CMD_CLOSE = 3,
};
typedef uint8_t CurtainCmd_enum;

enum {
  RUNNING_NORMAL = 0,
  LEARN_LIMIT_TIME = 1,
};
typedef uint8_t CurtainMode_enum;

enum {
  CURTAIN_STATE_IDLE = 0,
  CURTAIN_STATE_STOP = 1,
  CURTAIN_STATE_OPEN = 2,
  CURTAIN_STATE_CLOSE = 3,
  CURTAIN_STATE_WAIT_NEXT_CMD = 4,
};
typedef uint8_t CurtainState_enum;

enum {
  CURTAIN_CONTROL_ID_STOP = 1,
  CURTAIN_CONTROL_ID_RUN = 2,
};
typedef uint8_t CurtainControlId_enum;

enum {
  CURTAIN_0 = 0,
  CURTAIN_1 = 1,
};
typedef uint8_t CurtainNumber_enum;

enum {
  EX_ST_START_OPEN = 0,
  EX_ST_OPENNING = 1,
  EX_ST_OPENNED = 2,
  EX_ST_START_CLOSE = 3,
  EX_ST_CLOSING = 4,
  EX_ST_CLOSED = 5,
  EX_ST_STOP = 6,
  EX_ST_STOPED = 7,
  EX_ST_UNKNOWN = 8,
};
typedef uint8_t ExternCutainState_enum;

enum {
  MIN_STEP = 0,
  SEND_STEP_1 = 1,
  SEND_STEP_2 = 2,
  SEND_STEP_3 = 3,
  SEND_STEP_4 = 4,
  SEND_STEP_5 = 5,
  SEND_STEP_6 = 6,
  SEND_STEP_7 = 7,
  MAX_STEP = 8,
  SEND_STEP_NULL = 9,
};
typedef uint8_t CurtainSendStep_enum;

typedef struct {
  /*-------------Curtain Mode And State------------*/
  CurtainMode_enum curtainMode;
  CurtainState_enum curtainState;
  /*-------------Curtain Command-------------------*/
  CurtainState_enum currentCmd;
  CurtainState_enum bufferCmd;
  uint8_t cmdStep;
  uint32_t startDelayTimeForCmdStep;
  /*-------------Curtain Parameter----------------*/
  uint32_t curtainLimitTime;
  uint32_t currentPosition;
  uint32_t startPosition;
  uint32_t curtainRunningStartTime;
  uint32_t destinationPositionToGoTo;
  uint32_t tempDestinationPositionToGoTo;
#ifdef HOLD_FOR_TOUCH
  uint8_t enableControlCurtain;
#endif
  CurtainSendStep_enum sendStep;
  uint8_t enableCalculatorCurtainPosition;
  ExternCutainState_enum extended_state;
} Curtain_str;

typedef struct {
  uint8_t devNo;
  uint8_t calipCommandId;
  uint32_t limitTime;
} CalipCurtainLimitTime_str;

enum {
  _MIN_POSITION = 0x00,
  _MAX_POSITION = 0xFF,
};
typedef uint8_t PositionPerChar_enum;

enum {
  CURRENT_CMD_HANDLE_NOT_DONE = 0,
  CURRENT_CMD_HANDLE_DONE = 1,
  CURRENT_CMD_HANDLE_ERROR = 2,
};
typedef uint8_t CurrentCmdHandler_enum;

enum {
  OFF = 0,
  ON = 1,
};

#define LIMIT_TIME_DEFAULT_MS TIMER_20S

#define DESTINATION_NULL 0xFFFFFFFF
#define CURTAIN_CORRECTION_ERROR_VAL 0x02u
#define CZ_EXTENDED_STATE 1

#define KEY_FLASH 0x00

typedef struct {
  uint8_t present_level;
  uint8_t target_level;
  uint8_t state;
} curtain_level_t;

enum {
  ST_START_OPEN = 0,
  ST_OPENNING = 1,
  ST_OPENNED = 2,
  ST_START_CLOSE = 3,
  ST_CLOSING = 4,
  ST_CLOSED = 5,
  ST_STOP = 6,
  ST_STOPED = 7,
  ST_UNKNOWN = 8,
};
typedef uint8_t CutainState_enum;

#define DEFAULT_PULL_DELAY 300  // ms

typedef void (*typeCurtain_updateCurtainCurrentPosition)(uint8_t idx,
                                                         uint8_t pos);

/******************************************************************************/
/*                            EXPORT FUNCTIONS                                */
/******************************************************************************/
void curtain_config_auto_send_task(void);
void curtain_setup_enable_send_config_delay(bool en, bool join_flag);

void curtain_set_level(uint8_t idx, uint8_t pos);
uint8_t curtain_get_target_position(uint8_t idx);
uint8_t curtain_get_curret_level(uint8_t CT_No);
void curtain_get_position_through_uart(uint8_t idx);
void curtain_update_present_level(uint8_t idx, uint8_t level);
void curtain_response_st_to_gateway(uint8_t idx);
void curtain_config_init(void);
void curtain_config_set_params(uint8_t type, int val);
int curtain_cfg_set_mcu_opt(int idx, uint8_t* par, int par_len, uint8_t cmd);
int curtain_cfg_get_mcu_opt(int idx, uint8_t* par, int par_len, uint8_t cmd);
int curtain_config_handle_response_from_mcu(uint8_t* par, int par_len);
void curtain_reset_all_device_config(void);

int cz_config_enable_auto_send(void);

void curtain_handle_refresh_led(uint16_t mask);
void curtain_handle_option_button_state(uint8_t st);

void curtain_control_curtain_by_app(CurtainNumber_enum CT_No,
                                    CurtainControlId_enum CT_CmdId,
                                    uint8_t positionPerChar);

void curtain_init(void);
void curtain_proc(void);

int curtain_cfg_handle_set_message(int model_idx, uint8_t* par, int par_len,
                                   uint8_t cmd, bool notify_led_en);
int curtain_cfg_handle_get_message(int model_idx, uint8_t* par, int par_len,
                                   uint8_t cmd);

#ifdef __cplusplus
extern "C" {
#endif
void curtain_callback_init(typeCurtain_updateCurtainCurrentPosition func);
#ifdef __cplusplus
}
#endif
#endif /* CURTAIN_H_ */
```

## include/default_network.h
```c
/**
 * @file default_network.h
 * @brief Default Network Management for Fast Provision
 * @details Quản lý mạng mặc định với keys hardcoded để thiết bị chưa
 * provisioned có thể nhận messages fast provision từ provisioner.
 *
 * Tương thích với Telink SDK default_network.c
 */

#ifndef DEFAULT_NETWORK_H__
#define DEFAULT_NETWORK_H__

#include <stdbool.h>
#include <stdint.h>

#ifdef __cplusplus
extern "C" {
#endif
/**
 * @brief Default Network Keys - Đồng bộ với Telink SDK
 *
 * ⚠️ QUAN TRỌNG: Keys này PHẢI giống với provisioner để có thể giao tiếp!
 */

// Default NetKey (16 bytes) - Telink Standard
#define DEFAULT_NET_KEY_SIZE 16
extern const uint8_t default_net_key[DEFAULT_NET_KEY_SIZE];

// Default AppKey (16 bytes) - Telink Standard
#define DEFAULT_APP_KEY_SIZE 16
extern const uint8_t default_app_key[DEFAULT_APP_KEY_SIZE];

// Default Device Key (16 bytes) - Khi chưa provisioned
#define DEFAULT_DEV_KEY_SIZE 16
extern const uint8_t default_dev_key[DEFAULT_DEV_KEY_SIZE];

// Key Indices
#define DEFAULT_NETKEY_INDEX 0x0001
#define DEFAULT_APPKEY_INDEX 0x0001

// Default Network Subnet Index
#define DEFAULT_NETWORK_SUBNET_INDEX 0x0001

// Default Network Timeout (seconds)
#define DEFAULT_NETWORK_DEFAULT_TIME_S 70 // 70 seconds

/**
 * @brief Check if default network is currently active
 *
 * @return true if default network is active, false otherwise
 */
bool default_network_is_present(void);

/**
 * @brief Process default network - called periodically
 *
 * @details
 * - Nếu chưa provisioned: mở default network (set_tmp_keys)
 * - Nếu đã provisioned: xóa default network sau timeout
 */
void proc_default_network(void);

/**
 * @brief Set temporary keys (default network keys)
 *
 * @param enable true to enable default network, false to disable
 *
 * @details
 * - Thêm NetKey và AppKey mặc định vào stack
 * - Bind AppKey vào tất cả models
 * - Cho phép thiết bị nhận messages từ default network
 */
void set_tmp_keys(bool enable);

/**
 * @brief Delete temporary keys (default network keys)
 *
 * @details
 * - Xóa NetKey và AppKey mặc định
 * - Unbind AppKey khỏi models
 * - Đóng default network
 */
void del_tmp_keys(void);

/**
 * @brief Manually set default network state
 *
 * @param enable true to enable, false to disable
 * @param time_s timeout in seconds (0 = use default timeout)
 *
 * @details
 * - Enable/disable default network manually
 * - Set timeout for automatic cleanup
 */
void set_default_network_manual(bool enable, uint16_t time_s);

/**
 * @brief Check and delete default network on power on
 *
 * @details
 * - Kiểm tra nếu default network còn tồn tại trong flash
 * - Xóa nếu tồn tại (cleanup)
 */
void check_and_del_default_power_on(void);

/**
 * @brief Khởi tạo monitor default network
 *
 * @details
 * Bắt đầu monitor work để in thông tin default network mỗi 10 giây.
 * Thông tin bao gồm:
 * - Trạng thái mở/đóng
 * - Timeout và thời gian còn lại
 * - Keys (NetKey, AppKey, Subnet)
 * - Provision state
 */
void default_network_monitor_init(void);

/* Hàm get_provision_state() và is_main_network_provisioned() đã được di chuyển
 * sang fast_provision.h */
/* Include fast_provision.h để sử dụng các hàm này */

/**
 * @brief In thông tin tất cả các mạng (Subnets)
 */
void default_network_print_info(void);

#ifdef __cplusplus
}
#endif

#endif /* DEFAULT_NETWORK_H__ */
```
